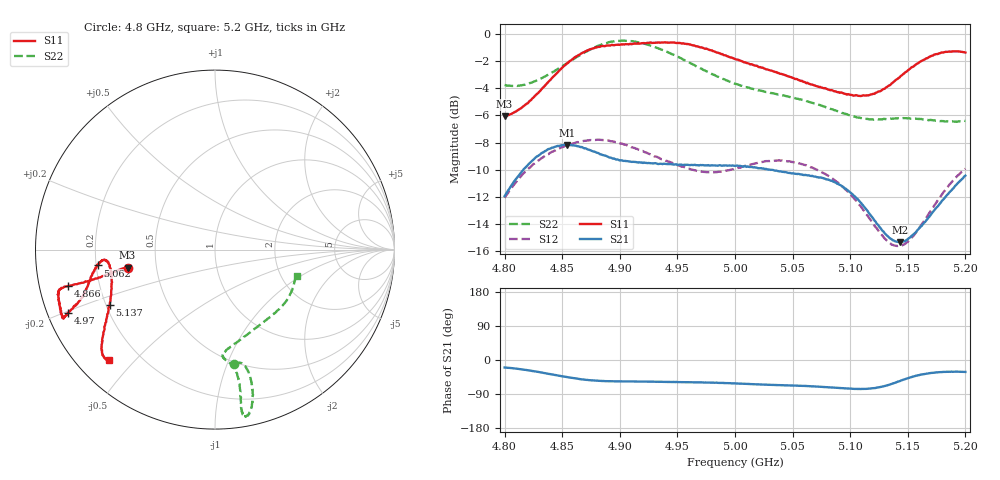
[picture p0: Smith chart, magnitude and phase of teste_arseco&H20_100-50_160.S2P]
! Network Analyzer HP8722D
! Hewlett-Packard
! Data name: Linha & Wilkinson
! Saver's name: Rodrigo Anjos
! Comments: Teste da utilização de aquisição
! continua pelo VNA HP8722D
! Time and date: 6/5/2025 13:54
!  Frequency  S11  S21  S12  S22
# HZ  S  MA R 50
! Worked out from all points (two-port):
!   401 points, 4.8 GHz to 5.2 GHz, reference 50 ohm
!   highest |S21| = -8.17 dB at 4.854 GHz (marker M1); lowest = -15.3 dB at 5.143 GHz (marker M2)
!   |S21| within 3 dB of the highest: 4.806 GHz to 5.092 GHz (286.6 MHz wide, 5.79 % of centre); 5.191296 GHz to end of sweep
!   lowest |S11| = -6.1 dB at 4.8 GHz (marker M3), VSWR 2.98, Z = 16.9 - j4.55 ohm
!   |S11| at or under -10 dB: nowhere
!   |S22| runs from -6.5 to -0.5 dB; largest |S21 - S12| = 0.62
!   S11 on the Smith chart (normalised r, x): 4.8 GHz: 0.34, -0.09; 4.866 GHz: 0.09, -0.12; 4.97 GHz: 0.06, -0.21; 5.062 GHz: 0.21, -0.06; 5.137 GHz: 0.22, -0.23; 5.2 GHz: 0.09, -0.42
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4.8e9  0.4976 -168.3  0.2533 -19.8  0.2495 -141.1  0.6485 -80.4
4.827e9  0.595 -167.2  0.3514 -30.2  0.3362 -144.9  0.6713 -75.5
4.854e9  0.7774 -166.0  0.3905 -45.3  0.3888 -150.1  0.779 -74.8
4.866e9  0.8444 -166.1  0.3832 -50.7  0.4017 -152.0  0.8375 -75.3
4.867e9  0.849 -166.1  0.3838 -51.1  0.4026 -152.3  0.8414 -75.6
4.883e9  0.8965 -165.3  0.3606 -55.2  0.4077 -154.9  0.91 -77.2
4.902e9  0.9142 -162.5  0.3424 -56.4  0.3944 -157.1  0.9448 -79.4
4.934e9  0.9294 -156.6  0.3323 -57.6  0.3504 -155.8  0.8817 -80.6
4.97e9  0.8917 -156.5  0.3295 -59.3  0.3124 -147.1  0.7468 -79.7
5e9  0.8082 -159.2  0.327 -61.9  0.3197 -137.4  0.6553 -81.4
5.036e9  0.7234 -165.8  0.3141 -66.1  0.3422 -134.5  0.6006 -85.7
5.062e9  0.6584 -172.3  0.3023 -68.7  0.3284 -136.4  0.5662 -83.9
5.067e9  0.6508 -173.2  0.3006 -69.3  0.3227 -136.9  0.558 -82.7
5.085e9  0.6185 -174.6  0.2867 -72.8  0.2929 -138.5  0.5276 -75.7
5.103e9  0.5925 -171.5  0.2544 -76.2  0.2493 -138.7  0.4974 -65.1
5.116e9  0.5947 -165.4  0.2201 -75.7  0.2117 -135.5  0.4854 -55.5
5.134e9  0.6464 -154.3  0.1779 -65.2  0.1706 -120.5  0.4872 -43.3
5.137e9  0.662 -152.4  0.1742 -62.1  0.1675 -116.6  0.4875 -41.5
5.143e9  0.6931 -149.3  0.171 -55.8  0.1657 -108.8  0.489 -37.9
5.154e9  0.756 -144.6  0.1818 -44.2  0.1793 -95.1  0.4882 -32.3
5.172e9  0.8331 -139.3  0.2219 -33.7  0.2304 -81.2  0.4812 -24.5
5.2e9  0.8539 -133.8  0.3011 -31.5  0.3195 -77.0  0.4783 -17.6
